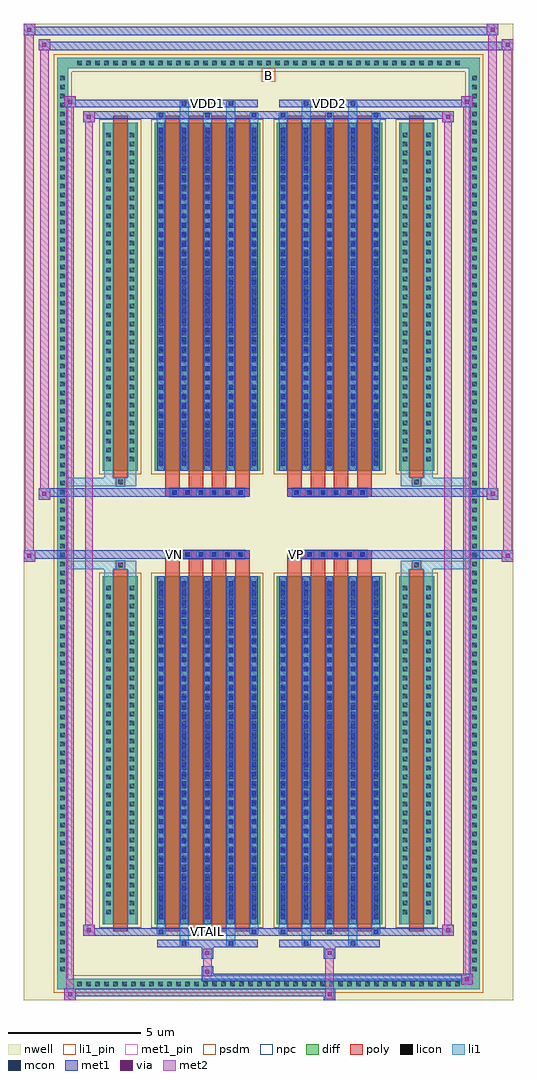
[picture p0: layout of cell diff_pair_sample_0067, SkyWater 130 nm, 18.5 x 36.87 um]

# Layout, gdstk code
import gdstk
lib = gdstk.Library(unit=1e-6, precision=5e-09)
def R(c, l, rs):  # rectangles x0, y0, x1, y1
    for r in rs: c.add(gdstk.rectangle(r[:2], r[2:], *l))
def A(c, l, x, y, w, h, nx, ny, dx, dy):  # array of equal rectangles
    R(c, l, [(x+i*dx, y+j*dy, x+i*dx+w, y+j*dy+h) for i in range(nx) for j in range(ny)])
def P(c, l, *ps):  # polygons
    for p in ps: c.add(gdstk.Polygon(p, *l))
nwell = (64, 20)
diff = (65, 20)
poly = (66, 20)
licon = (66, 44)
li1_pin = (67, 16)
li1 = (67, 20)
mcon = (67, 44)
met1_pin = (68, 16)
met1 = (68, 20)
via = (68, 44)
met2 = (69, 20)
psdm = (94, 20)
npc = (95, 20)

diff_pair_sample_0067 = lib.new_cell('diff_pair_sample_0067')
R(diff_pair_sample_0067, nwell, [(-9.25,-18,9.25,18.87), (-6.57,-16.19,-0.01,-0.805), (0.01,-16.19,6.57,-0.805), (-6.57,0.805,-0.01,16.19), (0.01,0.805,6.57,16.19)])
A(diff_pair_sample_0067, diff, -7.345, -17.6, 0.41, 0.41, 43, 2, 0.34, 34.79)
A(diff_pair_sample_0067, diff, -7.98, -17.035, 0.41, 0.41, 1, 100, 0, 0.34)
A(diff_pair_sample_0067, diff, 7.57, -17.035, 0.41, 0.41, 1, 100, 0, 0.34)
R(diff_pair_sample_0067, diff, [(-7.345,-17.6,7.345,-17.19), (-7.98,-17.035,-7.57,17.035), (7.57,-17.035,7.98,17.035), (-6.26,-15.145,-4.93,-1.985), (-4.29,-15.145,-0.32,-1.985), (0.32,-15.145,4.29,-1.985), (4.93,-15.145,6.26,-1.985), (-6.26,1.985,-4.93,15.145), (-4.29,1.985,-0.32,15.145), (0.32,1.985,4.29,15.145), (4.93,1.985,6.26,15.145), (-7.345,17.19,7.345,17.6)])
P(diff_pair_sample_0067, diff, [(7.98,17.6),(-7.98,17.6),(-7.98,-17.19),(-7.57,-17.19),(-7.57,17.19),(7.57,17.19),(7.57,-17.19),(-7.57,-17.19),(-7.98,-17.19),(-7.98,-17.6),(7.98,-17.6)])
A(diff_pair_sample_0067, poly, -3.9, -15.395, 0.55, 13.66, 4, 2, 0.88, 17.13)
A(diff_pair_sample_0067, poly, 0.71, -15.395, 0.55, 13.66, 4, 2, 0.88, 17.13)
A(diff_pair_sample_0067, poly, -3.9, -1.735, 0.55, 0.4, 4, 2, 0.88, 3.07)
A(diff_pair_sample_0067, poly, 0.71, -1.735, 0.55, 0.4, 4, 2, 0.88, 3.07)
A(diff_pair_sample_0067, poly, -3.72, -1.335, 0.33, 0.33, 6, 2, 0.5, 2.34)
A(diff_pair_sample_0067, poly, 0.89, -1.335, 0.33, 0.33, 6, 2, 0.5, 2.34)
R(diff_pair_sample_0067, poly, [(-5.87,-15.395,-5.32,-1.735), (5.32,-15.395,5.87,-1.735), (-5.76,-1.735,-5.43,-1.405), (-5.76,-1.735,-5.43,-1.405), (5.43,-1.735,5.76,-1.405), (5.43,-1.735,5.76,-1.405), (-3.9,-1.335,-0.71,-1.005), (0.71,-1.335,3.9,-1.005), (-3.9,1.005,-0.71,1.335), (0.71,1.005,3.9,1.335), (-5.76,1.405,-5.43,1.735), (-5.76,1.405,-5.43,1.735), (5.43,1.405,5.76,1.735), (5.43,1.405,5.76,1.735), (-5.87,1.735,-5.32,15.395), (5.32,1.735,5.87,15.395)])
A(diff_pair_sample_0067, licon, -7.225, -17.48, 0.17, 0.17, 43, 2, 0.34, 34.79)
A(diff_pair_sample_0067, licon, -7.86, -16.915, 0.17, 0.17, 1, 100, 0, 0.34)
A(diff_pair_sample_0067, licon, 7.69, -16.915, 0.17, 0.17, 1, 100, 0, 0.34)
A(diff_pair_sample_0067, licon, -6.12, -14.77, 0.17, 0.17, 1, 37, 0, 0.34)
A(diff_pair_sample_0067, licon, -5.24, -14.77, 0.17, 0.17, 1, 37, 0, 0.34)
A(diff_pair_sample_0067, licon, -4.15, -14.77, 0.17, 0.17, 5, 37, 0.88, 0.34)
A(diff_pair_sample_0067, licon, 0.46, -14.77, 0.17, 0.17, 5, 37, 0.88, 0.34)
A(diff_pair_sample_0067, licon, 5.07, -14.77, 0.17, 0.17, 1, 37, 0, 0.34)
A(diff_pair_sample_0067, licon, 5.95, -14.77, 0.17, 0.17, 1, 37, 0, 0.34)
A(diff_pair_sample_0067, licon, -3.64, -1.255, 0.17, 0.17, 6, 2, 0.5, 2.34)
A(diff_pair_sample_0067, licon, 0.97, -1.255, 0.17, 0.17, 6, 2, 0.5, 2.34)
A(diff_pair_sample_0067, licon, -6.12, 2.36, 0.17, 0.17, 1, 37, 0, 0.34)
A(diff_pair_sample_0067, licon, -5.24, 2.36, 0.17, 0.17, 1, 37, 0, 0.34)
A(diff_pair_sample_0067, licon, -4.15, 2.36, 0.17, 0.17, 5, 37, 0.88, 0.34)
A(diff_pair_sample_0067, licon, 0.46, 2.36, 0.17, 0.17, 5, 37, 0.88, 0.34)
A(diff_pair_sample_0067, licon, 5.07, 2.36, 0.17, 0.17, 1, 37, 0, 0.34)
A(diff_pair_sample_0067, licon, 5.95, 2.36, 0.17, 0.17, 1, 37, 0, 0.34)
R(diff_pair_sample_0067, licon, [(-5.68,-1.655,-5.51,-1.485), (5.51,-1.655,5.68,-1.485), (-5.68,1.485,-5.51,1.655), (5.51,1.485,5.68,1.655)])
R(diff_pair_sample_0067, li1_pin, [(-0.25,16.69,0.25,17.19)])
A(diff_pair_sample_0067, li1, -7.305, -17.56, 0.33, 0.33, 43, 2, 0.34, 34.79)
A(diff_pair_sample_0067, li1, -7.94, -16.995, 0.33, 0.33, 1, 100, 0, 0.34)
A(diff_pair_sample_0067, li1, 7.61, -16.995, 0.33, 0.33, 1, 100, 0, 0.34)
A(diff_pair_sample_0067, li1, -4.23, -15.52, 0.33, 0.375, 3, 2, 1.76, 30.665)
A(diff_pair_sample_0067, li1, -4.15, -15.52, 0.17, 0.17, 3, 2, 1.76, 30.87)
A(diff_pair_sample_0067, li1, 0.38, -15.52, 0.33, 0.375, 3, 2, 1.76, 30.665)
A(diff_pair_sample_0067, li1, 0.46, -15.52, 0.17, 0.17, 3, 2, 1.76, 30.87)
A(diff_pair_sample_0067, li1, -4.23, -15.145, 0.33, 13.16, 5, 2, 0.88, 17.13)
A(diff_pair_sample_0067, li1, 0.38, -15.145, 0.33, 13.16, 5, 2, 0.88, 17.13)
A(diff_pair_sample_0067, li1, -4.15, -14.95, 0.17, 0.17, 5, 36, 0.88, 0.36)
A(diff_pair_sample_0067, li1, -4.15, -14.95, 0.17, 12.77, 5, 2, 0.88, 17.13)
A(diff_pair_sample_0067, li1, 0.46, -14.95, 0.17, 0.17, 5, 36, 0.88, 0.36)
A(diff_pair_sample_0067, li1, 0.46, -14.95, 0.17, 12.77, 5, 2, 0.88, 17.13)
A(diff_pair_sample_0067, li1, -6.2, -14.85, 0.33, 0.33, 1, 37, 0, 0.34)
A(diff_pair_sample_0067, li1, -5.32, -14.85, 0.33, 0.33, 1, 37, 0, 0.34)
A(diff_pair_sample_0067, li1, -4.23, -14.85, 0.33, 0.33, 5, 37, 0.88, 0.34)
A(diff_pair_sample_0067, li1, 0.38, -14.85, 0.33, 0.33, 5, 37, 0.88, 0.34)
A(diff_pair_sample_0067, li1, 4.99, -14.85, 0.33, 0.33, 1, 37, 0, 0.34)
A(diff_pair_sample_0067, li1, 5.87, -14.85, 0.33, 0.33, 1, 37, 0, 0.34)
A(diff_pair_sample_0067, li1, -3.72, -1.335, 0.33, 0.33, 6, 2, 0.5, 2.34)
A(diff_pair_sample_0067, li1, 0.89, -1.335, 0.33, 0.33, 6, 2, 0.5, 2.34)
A(diff_pair_sample_0067, li1, -4.15, 2.18, 0.17, 0.17, 5, 36, 0.88, 0.36)
A(diff_pair_sample_0067, li1, 0.46, 2.18, 0.17, 0.17, 5, 36, 0.88, 0.36)
A(diff_pair_sample_0067, li1, -6.2, 2.28, 0.33, 0.33, 1, 37, 0, 0.34)
A(diff_pair_sample_0067, li1, -5.32, 2.28, 0.33, 0.33, 1, 37, 0, 0.34)
A(diff_pair_sample_0067, li1, -4.23, 2.28, 0.33, 0.33, 5, 37, 0.88, 0.34)
A(diff_pair_sample_0067, li1, 0.38, 2.28, 0.33, 0.33, 5, 37, 0.88, 0.34)
A(diff_pair_sample_0067, li1, 4.99, 2.28, 0.33, 0.33, 1, 37, 0, 0.34)
A(diff_pair_sample_0067, li1, 5.87, 2.28, 0.33, 0.33, 1, 37, 0, 0.34)
R(diff_pair_sample_0067, li1, [(-7.98,-17.6,-7.57,-17.19), (-7.98,-17.6,-7.57,-17.19), (-7.57,-17.6,7.57,-17.19), (7.57,-17.6,7.98,-17.19), (7.57,-17.6,7.98,-17.19), (-7.98,-17.19,-7.57,17.19), (7.57,-17.19,7.98,17.19), (-3.35,-15.95,-3.02,-15.145), (-3.27,-15.95,-3.1,-15.78), (-1.59,-15.95,-1.26,-15.145), (-1.51,-15.95,-1.34,-15.78), (1.26,-15.95,1.59,-15.145), (1.34,-15.95,1.51,-15.78), (3.02,-15.95,3.35,-15.145), (3.1,-15.95,3.27,-15.78), (-6.2,-15.145,-5.87,-1.985), (-5.32,-15.145,-4.99,-1.985), (4.99,-15.145,5.32,-1.985), (5.87,-15.145,6.2,-1.985), (-6.2,-1.985,-5.87,-1.405), (-5.32,-1.985,-4.99,-1.405), (4.99,-1.985,5.32,-1.405), (5.87,-1.985,6.2,-1.405), (-7.98,-1.735,-5.76,-1.405), (-6.2,-1.735,-5.76,-1.405), (-5.76,-1.735,-5.43,-1.405), (-5.43,-1.735,-4.99,-1.405), (4.99,-1.735,5.43,-1.405), (5.43,-1.735,5.76,-1.405), (5.43,-1.735,7.98,-1.405), (5.76,-1.735,6.2,-1.405), (-7.98,1.405,-5.76,1.735), (-6.2,1.405,-5.76,1.735), (-6.2,1.405,-5.87,1.985), (-5.76,1.405,-5.43,1.735), (-5.43,1.405,-4.99,1.735), (-5.32,1.405,-4.99,1.985), (4.99,1.405,5.43,1.735), (4.99,1.405,5.32,1.985), (5.43,1.405,5.76,1.735), (5.43,1.405,7.98,1.735), (5.76,1.405,6.2,1.735), (5.87,1.405,6.2,1.985), (-6.2,1.985,-5.87,15.145), (-5.32,1.985,-4.99,15.145), (4.99,1.985,5.32,15.145), (5.87,1.985,6.2,15.145), (-3.35,15.145,-3.02,15.95), (-1.59,15.145,-1.26,15.95), (1.26,15.145,1.59,15.95), (3.02,15.145,3.35,15.95), (-3.27,15.78,-3.1,15.95), (-1.51,15.78,-1.34,15.95), (1.34,15.78,1.51,15.95), (3.1,15.78,3.27,15.95), (-7.98,17.19,-7.57,17.6), (-7.98,17.19,-7.57,17.6), (-7.57,17.19,7.57,17.6), (7.57,17.19,7.98,17.6), (7.57,17.19,7.98,17.6)])
A(diff_pair_sample_0067, mcon, -4.15, -15.52, 0.17, 0.17, 3, 2, 1.76, 30.87)
A(diff_pair_sample_0067, mcon, 0.46, -15.52, 0.17, 0.17, 3, 2, 1.76, 30.87)
A(diff_pair_sample_0067, mcon, -4.15, -14.95, 0.17, 0.17, 5, 36, 0.88, 0.36)
A(diff_pair_sample_0067, mcon, 0.46, -14.95, 0.17, 0.17, 5, 36, 0.88, 0.36)
A(diff_pair_sample_0067, mcon, -3.64, -1.255, 0.17, 0.17, 6, 2, 0.5, 2.34)
A(diff_pair_sample_0067, mcon, 0.97, -1.255, 0.17, 0.17, 6, 2, 0.5, 2.34)
A(diff_pair_sample_0067, mcon, -4.15, 2.18, 0.17, 0.17, 5, 36, 0.88, 0.36)
A(diff_pair_sample_0067, mcon, 0.46, 2.18, 0.17, 0.17, 5, 36, 0.88, 0.36)
R(diff_pair_sample_0067, mcon, [(-3.27,-15.95,-3.1,-15.78), (-1.51,-15.95,-1.34,-15.78), (1.34,-15.95,1.51,-15.78), (3.1,-15.95,3.27,-15.78), (-3.27,15.78,-3.1,15.95), (-1.51,15.78,-1.34,15.95), (1.34,15.78,1.51,15.95), (3.1,15.78,3.27,15.95)])
R(diff_pair_sample_0067, met1_pin, [(-2.44,-15.56,-2.17,-15.29), (-3.69,-1.295,-3.42,-1.025), (0.92,-1.295,1.19,-1.025), (-2.44,15.74,-2.17,16.01), (2.17,15.74,2.44,16.01)])
A(diff_pair_sample_0067, met1, -4.21, -15.58, 0.29, 0.29, 3, 2, 1.76, 30.87)
A(diff_pair_sample_0067, met1, 0.4, -15.58, 0.29, 0.29, 3, 2, 1.76, 30.87)
A(diff_pair_sample_0067, met1, -4.21, -15.145, 0.29, 13.16, 5, 2, 0.88, 17.13)
A(diff_pair_sample_0067, met1, 0.4, -15.145, 0.29, 13.16, 5, 2, 0.88, 17.13)
A(diff_pair_sample_0067, met1, -4.21, -15.01, 0.29, 0.29, 5, 36, 0.88, 0.36)
A(diff_pair_sample_0067, met1, 0.4, -15.01, 0.29, 0.29, 5, 36, 0.88, 0.36)
A(diff_pair_sample_0067, met1, -3.7, -1.315, 0.29, 0.29, 6, 2, 0.5, 2.34)
A(diff_pair_sample_0067, met1, 0.91, -1.315, 0.29, 0.29, 6, 2, 0.5, 2.34)
A(diff_pair_sample_0067, met1, -4.21, 2.12, 0.29, 0.29, 5, 36, 0.88, 0.36)
A(diff_pair_sample_0067, met1, 0.4, 2.12, 0.29, 0.29, 5, 36, 0.88, 0.36)
R(diff_pair_sample_0067, met1, [(-7.71,-18,-7.28,-17.57), (2.09,-18,2.52,-17.57), (-7.71,-17.86,2.52,-17.57), (7.28,-17.43,7.71,-17), (-2.52,-17.29,7.71,-17), (-2.52,-17.15,-2.09,-16.72), (-2.52,-16.44,-2.09,-16.01), (2.09,-16.44,2.52,-16.01), (-4.21,-16.01,-0.4,-15.72), (-3.33,-16.01,-3.04,-15.72), (-1.57,-16.01,-1.28,-15.72), (0.4,-16.01,4.21,-15.72), (1.28,-16.01,1.57,-15.72), (3.04,-16.01,3.33,-15.72), (-7,-15.58,-6.57,-15.15), (-7,-15.58,-4.21,-15.29), (-4.21,-15.58,-0.4,-15.29), (-0.4,-15.58,0.4,-15.29), (0.4,-15.58,4.21,-15.29), (4.21,-15.58,7,-15.29), (6.57,-15.58,7,-15.15), (-9.25,-1.435,-8.82,-1.005), (8.82,-1.435,9.25,-1.005), (-9.25,-1.335,-0.71,-1.005), (-3.9,-1.335,-0.71,-1.005), (0.71,-1.335,3.9,-1.005), (0.71,-1.335,9.25,-1.005), (-8.68,0.905,-8.25,1.335), (8.25,0.905,8.68,1.335), (-8.68,1.005,-3.9,1.335), (-3.9,1.005,-0.71,1.335), (0.71,1.005,3.9,1.335), (3.9,1.005,8.68,1.335), (-7,15.15,-6.57,15.58), (6.57,15.15,7,15.58), (-7,15.29,-4.21,15.58), (-4.21,15.29,-0.4,15.58), (-0.4,15.29,0.4,15.58), (0.4,15.29,4.21,15.58), (4.21,15.29,7,15.58), (-7.71,15.72,-7.28,16.15), (-7.71,15.72,-4.21,16.01), (-4.21,15.72,-0.4,16.01), (-3.33,15.72,-3.04,16.01), (-1.57,15.72,-1.28,16.01), (0.4,15.72,4.21,16.01), (1.28,15.72,1.57,16.01), (3.04,15.72,3.33,16.01), (4.21,15.72,7.71,16.01), (7.28,15.72,7.71,16.15), (-8.68,17.87,-8.25,18.3), (-8.68,17.87,-6.57,18.2), (-6.57,17.87,6.57,18.2), (6.57,17.87,9.25,18.2), (8.82,17.87,9.25,18.3), (-9.25,18.44,-8.82,18.87), (-9.25,18.44,-6.57,18.77), (-6.57,18.44,6.57,18.77), (6.57,18.44,8.68,18.77), (8.25,18.44,8.68,18.87)])
R(diff_pair_sample_0067, via, [(-7.57,-17.86,-7.42,-17.71), (2.23,-17.86,2.38,-17.71), (7.42,-17.29,7.57,-17.14), (-2.38,-17.01,-2.23,-16.86), (-2.38,-16.3,-2.23,-16.15), (2.23,-16.3,2.38,-16.15), (-6.86,-15.44,-6.71,-15.29), (6.71,-15.44,6.86,-15.29), (-9.11,-1.295,-8.96,-1.145), (8.96,-1.295,9.11,-1.145), (-8.54,1.045,-8.39,1.195), (8.39,1.045,8.54,1.195), (-6.86,15.29,-6.71,15.44), (6.71,15.29,6.86,15.44), (-7.57,15.86,-7.42,16.01), (7.42,15.86,7.57,16.01), (-8.54,18.01,-8.39,18.16), (8.96,18.01,9.11,18.16), (-9.11,18.58,-8.96,18.73), (8.39,18.58,8.54,18.73)])
R(diff_pair_sample_0067, met2, [(-7.71,-18,-7.28,-17.57), (-7.64,-18,-7.35,16.15), (-7.35,-18,-7.28,-17.57), (-7.66,-17.95,-7.33,-17.62), (2.14,-17.95,2.47,-17.62), (2.14,-17.62,2.47,-16.39), (7.28,-17.43,7.71,-17), (7.35,-17.43,7.64,16.15), (7.64,-17.43,7.71,-17), (7.33,-17.38,7.66,-17.05), (-2.47,-17.1,-2.14,-16.77), (-2.47,-16.77,-2.14,-16.39), (-2.47,-16.39,-2.14,-16.06), (2.14,-16.39,2.47,-16.06), (-7,-15.58,-6.57,-15.15), (-6.93,-15.58,-6.64,15.58), (-6.64,-15.58,-6.57,-15.15), (6.57,-15.58,7,-15.15), (6.64,-15.58,6.93,15.58), (6.93,-15.58,7,-15.15), (-6.95,-15.53,-6.62,-15.2), (6.62,-15.53,6.95,-15.2), (-9.25,-1.435,-8.82,-1.005), (-9.2,-1.435,-8.87,18.87), (-8.87,-1.435,-8.82,-1.005), (8.82,-1.435,9.25,-1.005), (8.87,-1.435,9.2,18.3), (9.2,-1.435,9.25,-1.005), (-9.2,-1.385,-8.87,-1.055), (8.87,-1.385,9.2,-1.055), (-8.68,0.905,-8.25,1.335), (-8.63,0.905,-8.3,18.3), (-8.3,0.905,-8.25,1.335), (8.25,0.905,8.68,1.335), (8.3,0.905,8.63,18.87), (8.63,0.905,8.68,1.335), (-8.63,0.955,-8.3,1.285), (8.3,0.955,8.63,1.285), (-7,15.15,-6.57,15.58), (-6.64,15.15,-6.57,15.58), (6.57,15.15,7,15.58), (6.93,15.15,7,15.58), (-6.95,15.2,-6.62,15.53), (6.62,15.2,6.95,15.53), (-7.71,15.72,-7.28,16.15), (-7.35,15.72,-7.28,16.15), (7.28,15.72,7.71,16.15), (7.64,15.72,7.71,16.15), (-7.66,15.77,-7.33,16.1), (7.33,15.77,7.66,16.1), (-8.68,17.87,-8.25,18.3), (-8.3,17.87,-8.25,18.3), (8.82,17.87,9.25,18.3), (9.2,17.87,9.25,18.3), (-8.63,17.92,-8.3,18.25), (8.87,17.92,9.2,18.25), (-9.25,18.44,-8.82,18.87), (-8.87,18.44,-8.82,18.87), (8.25,18.44,8.68,18.87), (8.63,18.44,8.68,18.87), (-9.2,18.49,-8.87,18.82), (8.3,18.49,8.63,18.82)])
R(diff_pair_sample_0067, psdm, [(-6.39,-15.275,-4.8,-1.855), (-4.42,-15.275,-0.19,-1.855), (0.19,-15.275,4.42,-1.855), (4.8,-15.275,6.39,-1.855), (-6.39,1.855,-4.8,15.275), (-4.42,1.855,-0.19,15.275), (0.19,1.855,4.42,15.275), (4.8,1.855,6.39,15.275)])
P(diff_pair_sample_0067, psdm, [(8.11,17.73),(-8.11,17.73),(-8.11,-17.06),(-7.44,-17.06),(-7.44,17.06),(7.44,17.06),(7.44,-17.06),(-7.44,-17.06),(-8.11,-17.06),(-8.11,-17.73),(8.11,-17.73)])
A(diff_pair_sample_0067, npc, -3.74, -1.355, 0.37, 0.37, 6, 2, 0.5, 2.34)
A(diff_pair_sample_0067, npc, 0.87, -1.355, 0.37, 0.37, 6, 2, 0.5, 2.34)
R(diff_pair_sample_0067, npc, [(-5.78,-1.755,-5.41,-1.385), (5.41,-1.755,5.78,-1.385), (-3.74,-1.355,-2.87,-0.985), (-3.74,-1.355,-2.87,-0.985), (-3.24,-1.355,-2.37,-0.985), (-3.24,-1.355,-2.37,-0.985), (-2.74,-1.355,-1.87,-0.985), (-2.74,-1.355,-1.87,-0.985), (-2.24,-1.355,-1.37,-0.985), (-2.24,-1.355,-1.37,-0.985), (-1.74,-1.355,-0.87,-0.985), (-1.74,-1.355,-0.87,-0.985), (0.87,-1.355,1.74,-0.985), (0.87,-1.355,1.74,-0.985), (1.37,-1.355,2.24,-0.985), (1.37,-1.355,2.24,-0.985), (1.87,-1.355,2.74,-0.985), (1.87,-1.355,2.74,-0.985), (2.37,-1.355,3.24,-0.985), (2.37,-1.355,3.24,-0.985), (2.87,-1.355,3.74,-0.985), (2.87,-1.355,3.74,-0.985), (-3.74,0.985,-2.87,1.355), (-3.74,0.985,-2.87,1.355), (-3.24,0.985,-2.37,1.355), (-3.24,0.985,-2.37,1.355), (-2.74,0.985,-1.87,1.355), (-2.74,0.985,-1.87,1.355), (-2.24,0.985,-1.37,1.355), (-2.24,0.985,-1.37,1.355), (-1.74,0.985,-0.87,1.355), (-1.74,0.985,-0.87,1.355), (0.87,0.985,1.74,1.355), (0.87,0.985,1.74,1.355), (1.37,0.985,2.24,1.355), (1.37,0.985,2.24,1.355), (1.87,0.985,2.74,1.355), (1.87,0.985,2.74,1.355), (2.37,0.985,3.24,1.355), (2.37,0.985,3.24,1.355), (2.87,0.985,3.74,1.355), (2.87,0.985,3.74,1.355), (-5.78,1.385,-5.41,1.755), (5.41,1.385,5.78,1.755)])
diff_pair_sample_0067.add(gdstk.Label('VTAIL', (-2.305,-15.425), layer=68, texttype=5))
diff_pair_sample_0067.add(gdstk.Label('VN', (-3.555,-1.16), layer=68, texttype=5))
diff_pair_sample_0067.add(gdstk.Label('VP', (1.055,-1.16), layer=68, texttype=5))
diff_pair_sample_0067.add(gdstk.Label('B', (0,16.94), layer=67, texttype=5))
diff_pair_sample_0067.add(gdstk.Label('VDD2', (2.305,15.875), layer=68, texttype=5))
diff_pair_sample_0067.add(gdstk.Label('VDD1', (-2.305,15.875), layer=68, texttype=5))

lib.write_gds('diff_pair_sample_0067.gds')
